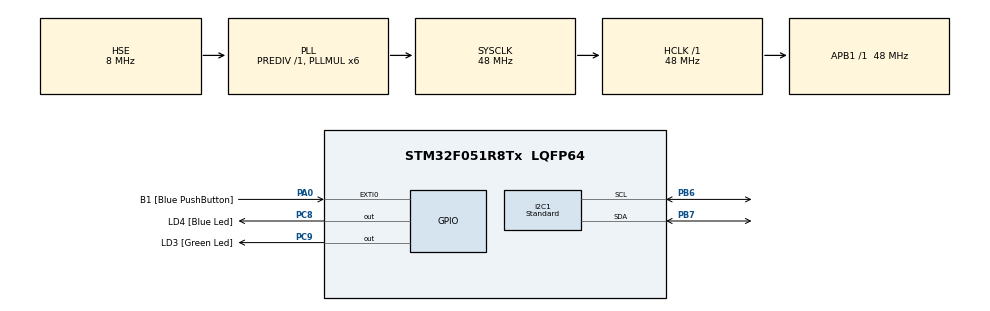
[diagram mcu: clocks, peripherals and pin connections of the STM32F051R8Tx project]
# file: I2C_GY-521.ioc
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I2C1.I2C_Speed_Mode=I2C_Standard
I2C1.Timing=0x2000090E
Mcu.Family=STM32F0
Mcu.Name=STM32F051R8Tx
Mcu.Package=LQFP64
PA0.GPIO_Label=B1 [Blue PushButton]
PA0.GPIO_ModeDefaultEXTI=GPIO_MODE_EVT_RISING
PA0.Signal=GPXTI0
PA13.GPIO_Label=SWDIO
PA13.Mode=Serial_Wire
PA13.Signal=SYS_SWDIO
PA14.GPIO_Label=SWCLK
PA14.Mode=Serial_Wire
PA14.Signal=SYS_SWCLK
PB6.Mode=I2C
PB6.Signal=I2C1_SCL
PB7.Mode=I2C
PB7.Signal=I2C1_SDA
PC8.GPIO_Label=LD4 [Blue Led]
PC8.Signal=GPIO_Output
PC9.GPIO_Label=LD3 [Green Led]
PC9.Signal=GPIO_Output
PF0-OSC_IN.Mode=HSE-External-Oscillator
PF0-OSC_IN.Signal=RCC_OSC_IN
PF1-OSC_OUT.Mode=HSE-External-Oscillator
PF1-OSC_OUT.Signal=RCC_OSC_OUT
ProjectManager.HeapSize=0x200
ProjectManager.StackSize=0x400
ProjectManager.TargetToolchain=STM32CubeIDE
RCC.AHBFreq_Value=48000000
RCC.APB1Freq_Value=48000000
RCC.APB1TimFreq_Value=48000000
RCC.EnbaleCSS=true
RCC.HCLKFreq_Value=48000000
RCC.PLLMUL=RCC_PLL_MUL6
RCC.PLLSourceVirtual=RCC_PLLSOURCE_HSE
RCC.SYSCLKFreq_VALUE=48000000
RCC.SYSCLKSource=RCC_SYSCLKSOURCE_PLLCLK
board=STM32F0DISCOVERY

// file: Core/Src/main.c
/* USER CODE BEGIN Header */
/**
  ******************************************************************************
  * @file           : main.c
  * @brief          : Main program body
  ******************************************************************************
  * @attention
  *
  * Copyright (c) 2022 STMicroelectronics.
  * All rights reserved.
  *
  * This software is licensed under terms that can be found in the LICENSE file
  * in the root directory of this software component.
  * If no LICENSE file comes with this software, it is provided AS-IS.
  *
  ******************************************************************************
  */
/* USER CODE END Header */
#include "main.h"
#include <stdlib.h>
#include <string.h>
#include <stdio.h>
#include <math.h>
#include <stdbool.h>

/* USER CODE BEGIN PD */
#define GY_ADDR 0xD0
#define PWR_REG 0x68
#define DIV_REG 0x19
#define GY_REG 0x1B
#define ACC_REG 0x1C
#define LPF_REG 0x1A
#define HAL_MAX_DELAY 100

/* USER CODE END PD */

I2C_HandleTypeDef hi2c1;

/* USER CODE BEGIN PV */
uint8_t data;
uint8_t buffer[2],tuffer[6],cuffer[6];  //sensorden gelen ham degerler
int16_t gyro_raw[3],acc_raw[3];  //anlamdırılmıs degerler
float gyro_cal[3],acc_cal[3]; //kalibrasyon offsetlerini tutan liste
int16_t acc_total_vector;
float angle_pitch_gyro, angle_roll_gyro;
float angle_pitch_acc, angle_roll_acc, angle_pitch_acc_sum, angle_roll_acc_sum,acc_total_vector_sum;
float angle_pitch,angle_roll;
int16_t raw_temp;
float temp;
int i;
float prevtime,prevtime1,time1,elapsedtime1,prevtime2,time2,elapsedtime2;
HAL_StatusTypeDef set_gyro;

/* USER CODE END PV */

void SystemClock_Config(void);
static void MX_GPIO_Init(void);
static void MX_I2C1_Init(void);

/* USER CODE BEGIN 0 */
void gy_test()
{
	HAL_StatusTypeDef status;

	status = HAL_I2C_IsDeviceReady(&hi2c1, (0x68<<1), 4, 1000);

	if (HAL_OK == status) {
		return 1;
	} else {
		return 0;

	}
}

void gy_read()
{
	int32_t val = 0;
	int8_t buffer[1];

	HAL_I2C_Mem_Read(&hi2c1, (0x68<<1), 0x75 , 1, buffer, 1, 100);
	HAL_StatusTypeDef status;
	if (HAL_OK != status) {
		//todo
	}
	if(buffer[0] == 0x68){
		return 1;
	}else{
		return 0;
	}

}

/* USER CODE END 0 */

int main(void)
{

  /* MCU Configuration--------------------------------------------------------*/

  /* Reset of all peripherals, Initializes the Flash interface and the Systick. */
  HAL_Init();

  /* Configure the system clock */
  SystemClock_Config();

  /* Initialize all configured peripherals */
  MX_GPIO_Init();
  MX_I2C1_Init();
  /* USER CODE BEGIN 2 */

  //sensorun başlagıc ayarları yapılıyor

  data = 0x00; //register 26
  HAL_I2C_Mem_Write(&hi2c1, GY_ADDR, PWR_REG, 1, &data, 1, 100);

  data =0x08; // register 27
  HAL_I2C_Mem_Write(&hi2c1, GY_ADDR, GY_REG, 1, &data, 1, 100);

  data =0x10; // register 28
  HAL_I2C_Mem_Write(&hi2c1, GY_ADDR, ACC_REG, 1, &data, 1, 100);

  data = 0x03;
  HAL_I2C_Mem_Write (&hi2c1, GY_ADDR, LPF_REG, 1, &data, 1, 100);

  //görültüyu engellemek için 2000 değerinin ortalamasını alınır

  for (int i  = 0; i < 200; i++)
  {
	  cuffer[0]=0x43;//register 67 - 72
	  HAL_I2C_Master_Transmit(&hi2c1,GY_ADDR,cuffer,1,HAL_MAX_DELAY);//ben sende veri alıcam bunun haberini göderiyor

	  HAL_I2C_Master_Receive(&hi2c1,GY_ADDR,cuffer,6,HAL_MAX_DELAY);

 	  gyro_raw[0] = (cuffer[0] << 8 | cuffer[1]);
	  gyro_raw[1] = (cuffer[2] << 8 | cuffer[3]);
	  gyro_raw[2] = (cuffer[4] << 8 | cuffer[5]);

	  gyro_cal[0] += gyro_raw[0];
	  gyro_cal[1] += gyro_raw[1];
	  gyro_cal[2] += gyro_raw[2];

	  HAL_Delay(10);

  }
  gyro_cal[0] /= 2000;
  gyro_cal[1] /= 2000;
  gyro_cal[2] /= 2000;

  /* USER CODE END 2 */

  /* Infinite loop */
  while (1)
  {

    /* USER CODE BEGIN 3 */
	  tuffer[0]=0x3B; //register 59 - 64
	  HAL_I2C_Master_Transmit(&hi2c1,GY_ADDR,tuffer,1,HAL_MAX_DELAY);
	  HAL_I2C_Master_Receive(&hi2c1,GY_ADDR,tuffer,6,HAL_MAX_DELAY);

	  // bitlerin birbirine ekleme işlemi
	  acc_raw[0] = (tuffer[0] << 8 | tuffer[1]);
	  acc_raw[1] = (tuffer[2] << 8 | tuffer[3]);
	  acc_raw[2] = (tuffer[4] << 8 | tuffer[5]);

	  buffer[0]=0x41;
	  HAL_I2C_Master_Transmit(&hi2c1,GY_ADDR,buffer,1,HAL_MAX_DELAY);
	  HAL_I2C_Master_Receive(&hi2c1,GY_ADDR,buffer,2,HAL_MAX_DELAY);

	  // Temperature Values
	  raw_temp = (buffer[0] << 8 | buffer[1]);
	  temp = (raw_temp / 340.0) + 36.53;

	  cuffer[0]=0x43;
	  HAL_I2C_Master_Transmit(&hi2c1,GY_ADDR,cuffer,1,HAL_MAX_DELAY);
	  HAL_I2C_Master_Receive(&hi2c1,GY_ADDR,cuffer,6,HAL_MAX_DELAY);

	  // Gyro Raw Values
	  	  gyro_raw[0] = (cuffer[0] << 8 | cuffer[1]);
	  	  gyro_raw[1] = (cuffer[2] << 8 | cuffer[3]);
	  	  gyro_raw[2] = (cuffer[4] << 8 | cuffer[5]);

	  	  gyro_raw[0] -= gyro_cal[0];
	  	  gyro_raw[1] -= gyro_cal[1];
	  	  gyro_raw[2] -= gyro_cal[2];

	  	 angle_pitch_gyro += gyro_raw[0] * 0.0000611;
	     angle_roll_gyro += gyro_raw[1] * 0.0000611;
         angle_pitch_gyro += angle_roll_gyro * sin(gyro_raw[2] * 0.000001066);
	     angle_roll_gyro -= angle_pitch_gyro * sin(gyro_raw[2] * 0.000001066);

	     acc_total_vector = sqrt((acc_raw[0]*acc_raw[0])+(acc_raw[1]*acc_raw[1])+(acc_raw[2]*acc_raw[2]));

	     	  //57.296 = 1 / (3.142 / 180)
	     angle_pitch_acc = asin((float)acc_raw[1]/acc_total_vector)* 57.296;
	     angle_roll_acc = asin((float)acc_raw[0]/acc_total_vector)* -57.296;

	     angle_pitch_acc -= 0;//0.05;
	     angle_roll_acc -= 0;//-1.32;

	     	  if(set_gyro){
	     		  angle_pitch = angle_pitch_gyro * 0.9996 + angle_pitch_acc * 0.0004;
	     		  angle_roll = angle_roll_gyro * 0.9996 + angle_roll_acc * 0.0004;
	     		}
	     	  else
	     	  {
	     		  angle_pitch = angle_pitch_acc;
	     		  set_gyro = true;
	     		}

  }
  /* USER CODE END 3 */
}

void SystemClock_Config(void)
{
  RCC_OscInitTypeDef RCC_OscInitStruct = {0};
  RCC_ClkInitTypeDef RCC_ClkInitStruct = {0};
  RCC_PeriphCLKInitTypeDef PeriphClkInit = {0};

  /** Initializes the RCC Oscillators according to the specified parameters
  * in the RCC_OscInitTypeDef structure.
  */
  RCC_OscInitStruct.OscillatorType = RCC_OSCILLATORTYPE_HSI|RCC_OSCILLATORTYPE_HSE;
  RCC_OscInitStruct.HSEState = RCC_HSE_ON;
  RCC_OscInitStruct.HSIState = RCC_HSI_ON;
  RCC_OscInitStruct.HSICalibrationValue = RCC_HSICALIBRATION_DEFAULT;
  RCC_OscInitStruct.PLL.PLLState = RCC_PLL_ON;
  RCC_OscInitStruct.PLL.PLLSource = RCC_PLLSOURCE_HSE;
  RCC_OscInitStruct.PLL.PLLMUL = RCC_PLL_MUL6;
  RCC_OscInitStruct.PLL.PREDIV = RCC_PREDIV_DIV1;
  if (HAL_RCC_OscConfig(&RCC_OscInitStruct) != HAL_OK)
  {
    Error_Handler();
  }

  /** Initializes the CPU, AHB and APB buses clocks
  */
  RCC_ClkInitStruct.ClockType = RCC_CLOCKTYPE_HCLK|RCC_CLOCKTYPE_SYSCLK
                              |RCC_CLOCKTYPE_PCLK1;
  RCC_ClkInitStruct.SYSCLKSource = RCC_SYSCLKSOURCE_PLLCLK;
  RCC_ClkInitStruct.AHBCLKDivider = RCC_SYSCLK_DIV1;
  RCC_ClkInitStruct.APB1CLKDivider = RCC_HCLK_DIV1;

  if (HAL_RCC_ClockConfig(&RCC_ClkInitStruct, FLASH_LATENCY_1) != HAL_OK)
  {
    Error_Handler();
  }
  PeriphClkInit.PeriphClockSelection = RCC_PERIPHCLK_I2C1;
  PeriphClkInit.I2c1ClockSelection = RCC_I2C1CLKSOURCE_HSI;
  if (HAL_RCCEx_PeriphCLKConfig(&PeriphClkInit) != HAL_OK)
  {
    Error_Handler();
  }

  /** Enables the Clock Security System
  */
  HAL_RCC_EnableCSS();
}

static void MX_I2C1_Init(void)
{

  hi2c1.Instance = I2C1;
  hi2c1.Init.Timing = 0x2000090E;
  hi2c1.Init.OwnAddress1 = 0;
  hi2c1.Init.AddressingMode = I2C_ADDRESSINGMODE_7BIT;
  hi2c1.Init.DualAddressMode = I2C_DUALADDRESS_DISABLE;
  hi2c1.Init.OwnAddress2 = 0;
  hi2c1.Init.OwnAddress2Masks = I2C_OA2_NOMASK;
  hi2c1.Init.GeneralCallMode = I2C_GENERALCALL_DISABLE;
  hi2c1.Init.NoStretchMode = I2C_NOSTRETCH_DISABLE;
  if (HAL_I2C_Init(&hi2c1) != HAL_OK)
  {
    Error_Handler();
  }

  /** Configure Analogue filter
  */
  if (HAL_I2CEx_ConfigAnalogFilter(&hi2c1, I2C_ANALOGFILTER_ENABLE) != HAL_OK)
  {
    Error_Handler();
  }

  /** Configure Digital filter
  */
  if (HAL_I2CEx_ConfigDigitalFilter(&hi2c1, 0) != HAL_OK)
  {
    Error_Handler();
  }

}

static void MX_GPIO_Init(void)
{
  GPIO_InitTypeDef GPIO_InitStruct = {0};

  /* GPIO Ports Clock Enable */
  __HAL_RCC_GPIOF_CLK_ENABLE();
  __HAL_RCC_GPIOA_CLK_ENABLE();
  __HAL_RCC_GPIOC_CLK_ENABLE();
  __HAL_RCC_GPIOB_CLK_ENABLE();

  /*Configure GPIO pin Output Level */
  HAL_GPIO_WritePin(GPIOC, LD4_Pin|LD3_Pin, GPIO_PIN_RESET);

  /*Configure GPIO pin : B1_Pin */
  GPIO_InitStruct.Pin = B1_Pin;
  GPIO_InitStruct.Mode = GPIO_MODE_EVT_RISING;
  GPIO_InitStruct.Pull = GPIO_NOPULL;
  HAL_GPIO_Init(B1_GPIO_Port, &GPIO_InitStruct);

  /*Configure GPIO pins : LD4_Pin LD3_Pin */
  GPIO_InitStruct.Pin = LD4_Pin|LD3_Pin;
  GPIO_InitStruct.Mode = GPIO_MODE_OUTPUT_PP;
  GPIO_InitStruct.Pull = GPIO_NOPULL;
  GPIO_InitStruct.Speed = GPIO_SPEED_FREQ_LOW;
  HAL_GPIO_Init(GPIOC, &GPIO_InitStruct);

}

void Error_Handler(void)
{
  __disable_irq();
  while (1)
  {
  }
}
